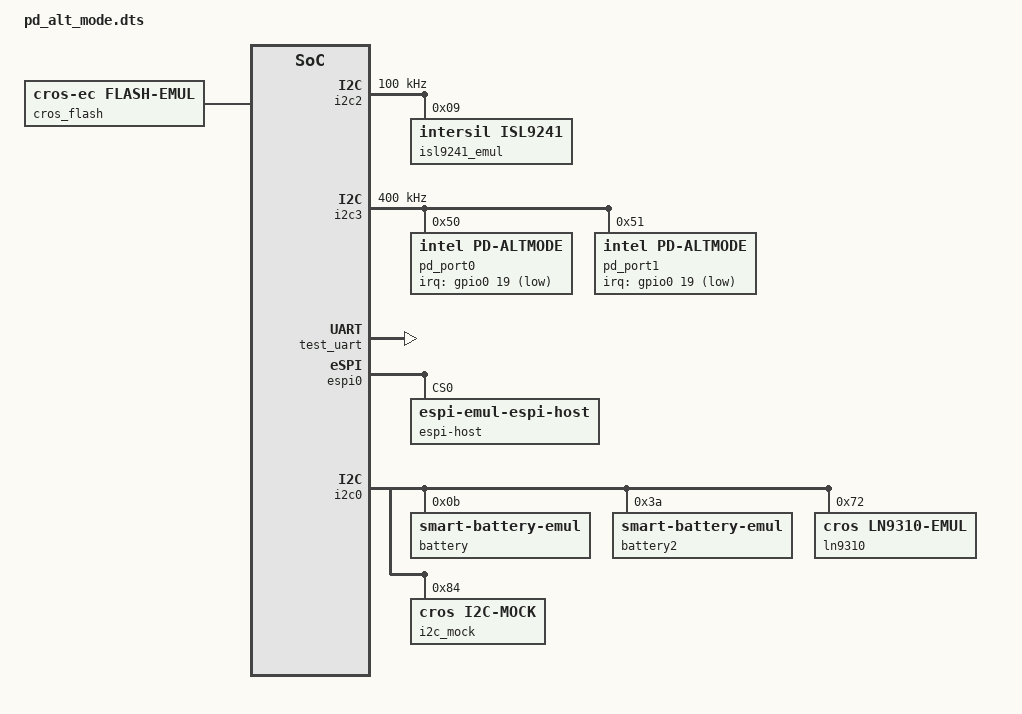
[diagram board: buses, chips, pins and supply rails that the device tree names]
/* Copyright 2023 The ChromiumOS Authors
 * Use of this source code is governed by a BSD-style license that can be
 * found in the LICENSE file.
 */

#include <board-overlays/native_posix.dts>
#include <cros/binman.dtsi>
#include <cros/thermistor/thermistor.dtsi>
#include <dt-bindings/gpio_defines.h>
#include <dt-bindings/wake_mask_event_defines.h>
#include <freq.h>

/ {
	chosen {
		cros-ec,espi = &espi0;
		cros-ec,flash = &flash0;
		cros-ec,flash-controller = &cros_flash;
		cros,rtc = &cros_rtc;
		zephyr,shell-uart = &test_uart;
	};

	aliases {
		gpio-wp = &gpio_wp_l;
	};

	ec-console {
		compatible = "ec-console";
		disabled = "events", "lpc", "hostcmd";
	};

	/*
	 * Keep these GPIOs in pin order.
	 * If you need to add one, make sure you increase
	 * ngpios in the gpio0 node further down.
	 */
	named-gpios {
		compatible = "named-gpios";

		gpio_acok_od: acok_od {
			gpios = <&gpio0 0 GPIO_INPUT>;
			enum-name = "GPIO_AC_PRESENT";
		};

		gpio_wp_l: wp_l {
			gpios = <&gpio0 1 (GPIO_INPUT | GPIO_OUTPUT |
					   GPIO_ACTIVE_LOW)>;
		};
		gpio_ec_pch_wake_odl: ec_pch_wake_odl {
			gpios = <&gpio0 2 GPIO_OUTPUT_HIGH>;
		};
		/* Setup USB C1 pin as output to check their state in test */
		usb_c0_tcpc_rst_l: usb_c0_tcpc_rst_l {
			gpios = <&gpio0 3 (GPIO_OUTPUT_HIGH | GPIO_INPUT | GPIO_ACTIVE_LOW)>;
		};
		usb_c1_tcpc_rst_l: usb_c1_tcpc_rst_l {
			gpios = <&gpio0 4 (GPIO_OUTPUT_HIGH | GPIO_INPUT | GPIO_ACTIVE_LOW)>;
		};
		gpio_switchcap_pg_int_l: switchcap_pg_int_l {
			gpios = <&gpio0 5 (GPIO_OUTPUT | GPIO_INPUT)>;
		};
		gpio_ap_rst_l: ap_rst_l {
			gpios = <&gpio0 6 GPIO_INPUT>;
			enum-name = "GPIO_AP_RST_L";
		};
		gpio_ps_hold: ps_hold {
			gpios = <&gpio0 7 (GPIO_INPUT | GPIO_PULL_DOWN)>;
			enum-name = "GPIO_PS_HOLD";
		};
		gpio_mb_power_good: mb_power_good {
			gpios = <&gpio0 8 (GPIO_OUTPUT | GPIO_INPUT |
				GPIO_PULL_DOWN)>;
			enum-name = "GPIO_POWER_GOOD";
		};
		gpio_ap_suspend: ap_suspend {
			gpios = <&gpio0 9 GPIO_INPUT>;
			enum-name = "GPIO_AP_SUSPEND";
		};
		gpio_pmic_kpd_pwr_odl: pmic_kpd_pwr_odl {
			gpios = <&gpio0 10 GPIO_OUTPUT_HIGH>;
			enum-name = "GPIO_PMIC_KPD_PWR_ODL";
		};
		gpio_pmic_resin_l: pmic_resin_l {
			gpios = <&gpio0 11 GPIO_OUTPUT_HIGH>;
			enum-name = "GPIO_PMIC_RESIN_L";
		};
		gpio_warm_reset_l: warm_reset_l {
			gpios = <&gpio0 12 GPIO_INPUT>;
			enum-name = "GPIO_WARM_RESET_L";
		};
		gpio_lid_open_ec: lid_open_ec {
			/* GPIO_PULL_UP will cause this start asserted. */
			gpios = <&gpio0 13 (GPIO_INPUT | GPIO_PULL_UP)>;
			enum-name = "GPIO_LID_OPEN";
		};
		gpio_switchcap_on: switchcap_on {
			gpios = <&gpio0 14 (GPIO_INPUT | GPIO_OUTPUT_LOW)>;
		};
		gpio_ec_pwr_btn_odl: ec_pwr_btn_odl {
			/* GPIO_PULL_UP will cause this start asserted,
			 * i.e. not pressed.
			 */
			gpios = <&gpio0 15 (GPIO_ACTIVE_LOW | GPIO_INPUT | GPIO_PULL_UP)>;
			enum-name = "GPIO_POWER_BUTTON_L";
		};
		gpio_src_vph_pwr_pg: src_vph_pwr_pg {
			gpios = <&gpio0 16 (GPIO_INPUT | GPIO_OUTPUT |
				GPIO_PULL_DOWN)>;
		};
		ec_batt_pres_odl {
			gpios = <&gpio0 17 GPIO_INPUT>;
			enum-name = "GPIO_BATT_PRES_ODL";
		};
		gpio_ap_ec_int_l: ap_ec_int_l {
			gpios = <&gpio0 18 GPIO_OUTPUT_HIGH>;
			enum-name = "GPIO_EC_INT_L";
		};
	};

	gpio-interrupts {
		compatible = "cros-ec,gpio-interrupts";

		int_ac_present: ac_present {
			irq-pin = <&gpio_acok_od>;
			flags = <GPIO_INT_EDGE_BOTH>;
			handler = "extpower_interrupt";
		};
		int_switchcap_pg: switchcap_pg {
			irq-pin = <&gpio_switchcap_pg_int_l>;
			flags = <GPIO_INT_EDGE_FALLING>;
			handler = "ln9310_interrupt";
		};
		int_mb_power_good: mb_power_good {
			irq-pin = <&gpio_mb_power_good>;
			flags = <GPIO_INT_EDGE_BOTH>;
			handler = "power_signal_interrupt";
		};
	};

	named-i2c-ports {
		compatible = "named-i2c-ports";

		named_i2c0: i2c0 {
			i2c-port = <&i2c0>;
			enum-names = "I2C_PORT_BATTERY",
				"I2C_PORT_POWER",
				"I2C_PORT_VIRTUAL_BATTERY";
		};
		named_i2c2: i2c2 {
			i2c-port = <&i2c2>;
			dynamic-speed;
			enum-names = "I2C_PORT_USB_C0";
		};
		named_i2c3: i2c3 {
			i2c-port = <&i2c3>;
			dynamic-speed;
			enum-names = "I2C_PORT_USB_C1";
		};
	};

	batteries {
		default_battery: lgc_ac17a8m {
			compatible = "lgc,ac17a8m", "battery-smart";
		};
		ap16l5j {
			compatible = "panasonic,ap16l5j", "battery-smart";
		};
		ap16l8j {
			compatible = "lgc,ap16l8j", "battery-smart";
		};
	};

	/*
	 * Add extra i2c buses to test the I2C passthrough: 1 for sensor and
	 * 2 dedicated for TCPC.
	 */
	i2c2: i2c@500 {
		status = "okay";
		compatible = "zephyr,i2c-emul-controller";
		clock-frequency = <I2C_BITRATE_STANDARD>;
		#address-cells = <1>;
		#size-cells = <0>;
		reg = <0x500 4>;
		isl9241_emul: isl9241@9 {
			compatible = "intersil,isl9241";
			status = "okay";
			reg = <0x9>;
		};
	};

	i2c3: i2c@600 {
		status = "okay";
		compatible = "zephyr,i2c-emul-controller";
		clock-frequency = <I2C_BITRATE_STANDARD>;
		#address-cells = <1>;
		#size-cells = <0>;
		reg = <0x600 4>;
		status = "okay";
		clock-frequency = <I2C_BITRATE_FAST>;

		pd_port0: ccg@50 {
			compatible = "intel,pd-altmode";
			reg = <0x50>;
			irq-gpios = <&gpio0 19 GPIO_ACTIVE_LOW>;
		};
		pd_port1: ccg@51 {
			compatible = "intel,pd-altmode";
			reg = <0x51>;
			irq-gpios = <&gpio0 19 GPIO_ACTIVE_LOW>;
			irq-shared;
		};
	};

	usbc {
		#address-cells = <1>;
		#size-cells = <0>;

		port0@0 {
			compatible = "named-usbc-port";
			reg = <0>;
			chg = <&isl9241_emul>;
			alt-mode = <&pd_port0>;
			usb-mux-chain-0 {
				compatible = "cros-ec,usb-mux-chain";
				usb-muxes = <&virtual_mux_0>;
			};
		};
		port0-muxes {
			virtual_mux_0: virtual-mux-0 {
				compatible = "cros-ec,usbc-mux-virtual";
			};
		};
		port1@1 {
			compatible = "named-usbc-port";
			reg = <1>;
			alt-mode = <&pd_port1>;
			usb-mux-chain-1 {
				compatible = "cros-ec,usb-mux-chain";
				usb-muxes = <&virtual_mux_1>;
			};
		};
		port1-muxes {
			virtual_mux_1: virtual-mux-1 {
				compatible = "cros-ec,usbc-mux-virtual";
			};
		};
	};

	clock: clock {
		compatible = "cros,clock-control-emul";
		clock-frequency = <DT_FREQ_M(100)>; /* 100 MHz */
	};
	cros_flash: cros-flash {
		compatible = "cros-ec,flash-emul";
	};

	cros_rtc: cros-rtc {
		compatible = "cros-ec,rtc-emul";
	};

	test_uart: uart@55556666 {
	   compatible = "vnd,serial";
	   reg = <0x55556666 0x1000>;
	   status = "okay";
	   buffer-size = <200>;
	};

};

&espi0 {
	espi-host@0 {
		status = "okay";
		compatible = "zephyr,espi-emul-espi-host";
		reg = <0x0>;
	};
};

&gpio0 {
	ngpios = <32>;
};

&i2c0 {
	battery: sb@b {
		compatible = "zephyr,smart-battery-emul";
		reg = <0xb>;
		cycle-count = <99>;
		version = "BATTERY_SPEC_VER_1_1_WITH_PEC";
		/* Real battery voltages are multiples of 4.4V. */
		desired-charg-volt = <5000>;
		desired-charg-cur = <1000>;
		mf-name = "LGC";
		dev-name = "AC17A8M";
	};

	battery2: sb@3a {
		compatible = "zephyr,smart-battery-emul";
		reg = <0x3a>;
		cycle-count = <99>;
		version = "BATTERY_SPEC_VER_1_1_WITH_PEC";
		/* Real battery voltages are multiples of 4.4V. */
		desired-charg-volt = <5000>;
		desired-charg-cur = <1000>;
		mf-name = "PANASONIC";
		dev-name = "AP16L5J";
	};

	ln9310: ln9310@72 {
		compatible = "cros,ln9310-emul";
		status = "okay";
		reg = <0x72>;
		pg-int-pin = <&gpio_switchcap_pg_int_l>;
	};

	i2c_mock: i2c_mock@84 {
		compatible = "cros,i2c-mock";
		status = "okay";
		reg = <0x84>;
	};
};

&flash0 {
        erase-block-size = <0x1000>;
        write-block-size = <1>;
        reg = <0x00000000 DT_SIZE_K(512)>;
};
